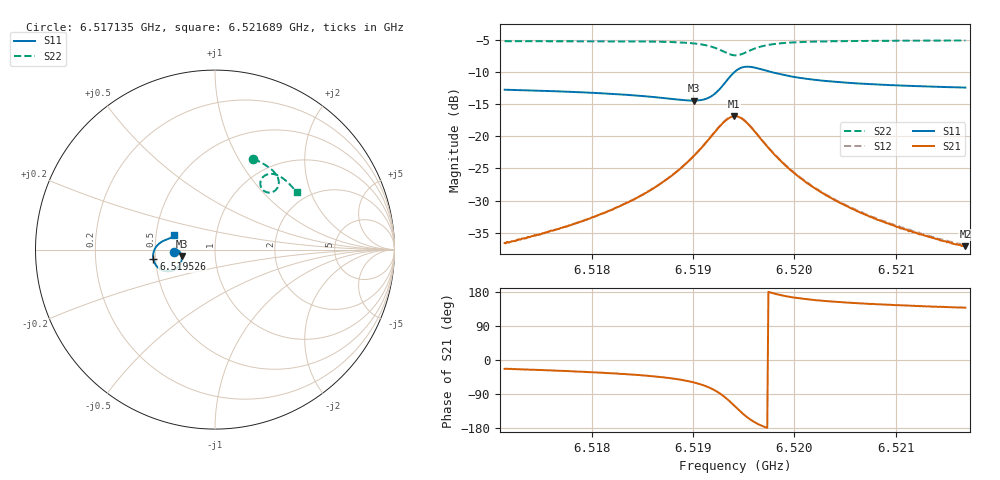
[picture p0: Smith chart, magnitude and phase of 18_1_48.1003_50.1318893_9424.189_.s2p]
#  HZ  S  RI  R  50.00
! Rohde & Schwarz Vector Network Analyzer
! Rohde-Schwarz,ZNB20-2Port,1311601062101988,3.16
! Created: UTC 12/23/2023, 3:36:22 AM
! freq[Hz]  re:S11  im:S11  re:S21  im:S21  re:S12  im:S12  re:S22  im:S22
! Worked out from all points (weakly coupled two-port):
!   401 points, 6.517135 GHz to 6.521689 GHz, reference 50 ohm
!   highest |S21| = -16.89 dB at 6.519401 GHz (marker M1); lowest = -37.1 dB at 6.521689 GHz (marker M2)
!   lowest |S11| = -14.5 dB at 6.519002 GHz (marker M3), VSWR 1.47, Z = 34.2 - j2.5 ohm
!   |S11| at or under -10 dB: start of sweep to 6.519407 GHz; 6.51977 GHz to end of sweep
!   |S22| runs from -7.4 to -5.1 dB; largest |S21 - S12| = 0.0043
!   S11 on the Smith chart (normalised r, x): 6.517135 GHz: 0.63, -0.02; 6.519526 GHz: 0.49, -0.06; 6.521689 GHz: 0.62, +0.10
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6.5171347e9  -0.2298 -0.0143  0.0136 -0.0059  0.0136 -0.0053  0.2137 0.5054
6.5174763e9  -0.2259 -0.00946  0.0155 -0.0077  0.0156 -0.00717  0.2389 0.4943
6.5178976e9  -0.2196 -0.00469  0.0187 -0.0112  0.0191 -0.0106  0.27 0.4781
6.5182847e9  -0.2114 -0.00335  0.0232 -0.0172  0.0237 -0.0164  0.299 0.4592
6.5186605e9  -0.1998 -0.0088  0.03 -0.0294  0.0309 -0.0286  0.3284 0.4337
6.5188427e9  -0.1924 -0.018  0.034 -0.0415  0.0354 -0.0406  0.3426 0.4156
6.5190021e9  -0.186 -0.0352  0.0359 -0.0598  0.038 -0.0591  0.3529 0.3922
6.519116e9  -0.1858 -0.0573  0.0324 -0.0813  0.0351 -0.0809  0.3554 0.3688
6.5191957e9  -0.1933 -0.0798  0.0224 -0.1015  0.0256 -0.1016  0.3499 0.3478
6.5193209e9  -0.2379 -0.117  -0.0232 -0.1308  -0.0196 -0.1325  0.3147 0.3191
6.5194006e9  -0.2903 -0.1161  -0.0703 -0.1246  -0.0673 -0.1274  0.2776 0.3242
6.519412e9  -0.298 -0.1129  -0.0766 -0.1208  -0.0739 -0.124  0.2729 0.3271
6.5194689e9  -0.3287 -0.0874  -0.1012 -0.0951  -0.0994 -0.0988  0.2559 0.3492
6.5195259e9  -0.3435 -0.0542  -0.1106 -0.0645  -0.1096 -0.0681  0.2528 0.3745
6.5196397e9  -0.3373 -0.000386  -0.0995 -0.0192  -0.0997 -0.0224  0.2724 0.4089
6.5197536e9  -0.3174 0.0278  -0.0792 0.00164  -0.0801 -0.000753  0.2979 0.4207
6.5199472e9  -0.2902 0.0473  -0.0544 0.0127  -0.0553 0.0113  0.3318 0.4198
6.5201749e9  -0.2706 0.0559  -0.0379 0.0146  -0.0386 0.0136  0.3589 0.4093
6.5205506e9  -0.2521 0.063  -0.0243 0.0134  -0.0249 0.0128  0.3905 0.3875
6.5209378e9  -0.2407 0.0685  -0.0172 0.0116  -0.0178 0.0115  0.4159 0.3646
6.5214388e9  -0.2302 0.0755  -0.012 0.00986  -0.0125 0.00984  0.4437 0.3339
6.5216893e9  -0.2258 0.0788  -0.0104 0.00933  -0.0109 0.00919  0.4559 0.3184
